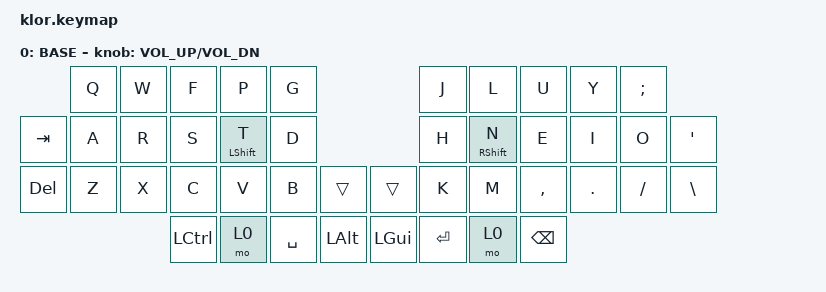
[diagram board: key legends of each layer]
#include <behaviors/mouse_keys.dtsi>
#include <behaviors.dtsi>
#include <dt-bindings/zmk/bt.h>
#include <dt-bindings/zmk/keys.h>
#include <dt-bindings/zmk/mouse.h>
#include <dt-bindings/zmk/outputs.h>

&lt {
    tapping-term-ms = <240>;
    flavor = "balanced";
    quick-tap-ms = <150>;
};

&mt {
    global-quick-tap;
    flavor = "tap-preferred";
    tapping-term-ms = <200>;
};

&sk {
    release-after-ms = <2000>;
    quick-release;
};

/ {
    macros {
        bootload_macro: bootload_macro {
            compatible = "zmk,behavior-macro";
            #binding-cells = <0>;
            bindings = <&bootloader>;
            label = "BOOTLOAD_MACRO";
        };
    };

    combos {
        compatible = "zmk,combos";

        combo_esc {
            timeout-ms = <50>;
            key-positions = <0 1>;
            bindings = <&kp ESC>;
        };

        left_bkt {
            bindings = <&kp LEFT_BRACKET>;
            key-positions = <2 3>;
            timeout-ms = <50>;
        };

        right_bkt {
            bindings = <&kp RIGHT_BRACKET>;
            key-positions = <7 6>;
            timeout-ms = <50>;
        };

        left_par {
            bindings = <&kp LEFT_PARENTHESIS>;
            key-positions = <12 13>;
            timeout-ms = <50>;
        };

        right_par {
            bindings = <&kp RIGHT_PARENTHESIS>;
            key-positions = <16 17>;
            timeout-ms = <50>;
        };

        left_brace {
            bindings = <&kp LEFT_BRACE>;
            key-positions = <22 23>;
            timeout-ms = <50>;
        };

        right_brace {
            bindings = <&kp RIGHT_BRACE>;
            key-positions = <26 27>;
            timeout-ms = <50>;
        };

        bac {
            bindings = <&kp BACKSLASH>;
            key-positions = <5 6>;
            timeout-ms = <50>;
        };

        pipe {
            bindings = <&kp PIPE>;
            key-positions = <3 4>;
            timeout-ms = <50>;
        };
    };

    behaviors {
        hm: homerow_mods {
            compatible = "zmk,behavior-hold-tap";
            label = "HOMEROW_MODS";
            bindings = <&kp>, <&kp>;

            #binding-cells = <2>;
            tapping-term-ms = <200>;
            quick-tap-ms = <180>;
            flavor = "tap-preferred";
        };

        ltq: ltq {
            compatible = "zmk,behavior-hold-tap";
            label = "LTQ";
            bindings = <&mo>, <&kp>;

            #binding-cells = <2>;
            tapping-term-ms = <200>;
            quick-tap-ms = <180>;
        };

        as: auto_shift {
            compatible = "zmk,behavior-hold-tap";
            label = "AUTO_SHIFT";
            bindings = <&kp>, <&kp>;

            #binding-cells = <2>;
            tapping-term-ms = <135>;
            quick-tap-ms = <0>;
        };
    };

    keymap {
                compatible = "zmk,keymap";
// ▄▄▄▄▄▄▄▄▄▄▄▄▄▄▄▄▄▄▄▄▄▄▄▄▄▄▄▄▄▄▄▄▄▄▄▄▄▄▄▄▄▄▄▄▄▄▄▄▄▄▄▄▄▄▄▄▄▄▄▄▄▄▄▄▄▄▄▄▄▄▄▄▄▄▄▄▄▄▄▄▄▄▄▄▄▄▄▄▄▄▄▄▄▄▄▄▄▄▄▄▄▄▄▄▄▄▄▄▄▄▄▄▄▄▄▄▄▄▄▄▄▄▄▄▄▄▄▄▄▄▄▄▄▄▄▄▄▄▄▄▄▄


                base_layer {
label= "BASE" ;
 bindings = <
              &kp Q     &kp W     &kp F     &kp P     &kp G                          &kp J     &kp L     &kp U     &kp Y     &kp SEMI
    &kp TAB   &kp A     &kp R     &kp S   &hm LSHFT T &kp D                          &kp H   &hm RSHFT N &kp E     &kp I     &kp O     &kp SQT
    &kp DEL   &kp Z     &kp X     &kp C     &kp V     &kp B     &trans     &trans    &kp K     &kp M     &kp COMMA &kp DOT   &kp FSLH  &kp BSLH
                                  &kp LCTRL &mo 0 &kp SPACE &kp LALT   &kp LGUI  &kp RET   &mo 0 &kp BSPC    
                        >;
            sensor-bindings = <&inc_dec_kp C_VOL_UP C_VOL_DN>;
                };
        };
};
